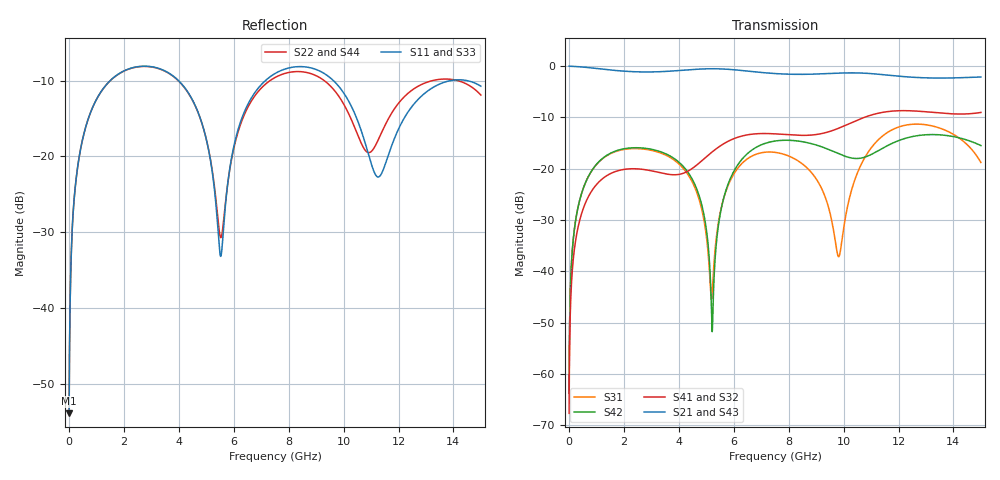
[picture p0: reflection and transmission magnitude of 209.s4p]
! Created with skrf 1.8.0 (http://scikit-rf.org).
# GHz S RI R 50.0
!freq ReS11 ImS11 ReS12 ImS12 ReS13 ImS13
! ReS14 ImS14
! ReS21 ImS21 ReS22 ImS22 ReS23 ImS23
! ReS24 ImS24
! ReS31 ImS31 ReS32 ImS32 ReS33 ImS33
! ReS34 ImS34
! ReS41 ImS41 ReS42 ImS42 ReS43 ImS43
! ReS44 ImS44
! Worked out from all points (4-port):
!   2499 points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, 5 MHz to 15 GHz, reference 50 ohm
!   strongest paths, dB at 5 MHz, 3.476 GHz, 7.19 GHz, 11.1 GHz, 15 GHz:
!     S21: 0.0, -1.1, -1.3, -1.5, -2.1
!     S43: 0.0, -1.1, -1.3, -1.5, -2.1
!     S41: -67.7, -21.0, -13.1, -9.4, -9.0
!     S32: -67.7, -21.0, -13.2, -9.4, -9.0
!     S42: -63.7, -17.0, -15.0, -17.0, -15.5
!     S31: -63.7, -17.2, -16.8, -15.3, -18.8
!   lowest |S11| = -53.8 dB at 5 MHz (marker M1), VSWR 1.00, Z = 50.2 + j0.124 ohm
!   |S11| at or under -10 dB: start of sweep to 1.504 GHz; 3.985 GHz to 7.155 GHz (3.17 GHz wide, 56.9 % of centre); 9.626 GHz to 13.91 GHz (4.283 GHz wide, 36.4 % of centre) (the widest 3 of 4)
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0.005  0.00162 0.00123  0.9983 -0.00316  8.16e-05 0.000649  -7.93e-05 -0.000406
       0.9983 -0.00316  0.00162 0.00123  -7.93e-05 -0.000406  8.17e-05 0.000649
       8.16e-05 0.000649  -7.93e-05 -0.000406  0.00162 0.00123  0.9983 -0.00316
       -7.93e-05 -0.000406  8.17e-05 0.000649  0.9983 -0.00316  0.00162 0.00123
0.3126303  0.0237 0.0812  0.9678 -0.1966  0.0107 0.0386  -0.00906 -0.0239
           0.9678 -0.1966  0.0236 0.0812  -0.00906 -0.0239  0.0111 0.0385
           0.0107 0.0386  -0.00906 -0.0239  0.0237 0.0812  0.9678 -0.1966
           -0.00906 -0.0239  0.0111 0.0385  0.9678 -0.1966  0.0236 0.0812
1.519383  0.2614 0.1814  0.5697 -0.7174  0.1231 0.0677  -0.0893 -0.00951
          0.5697 -0.7174  0.2599 0.1823  -0.0893 -0.00956  0.1277 0.0618
          0.1231 0.0677  -0.0893 -0.00956  0.2614 0.1813  0.5697 -0.7174
          -0.0893 -0.00951  0.1277 0.0618  0.5697 -0.7174  0.2599 0.1823
5.214673  0.0341 -0.0721  -0.9107 -0.242  -0.00563 0.00244  -0.0328 0.142
          -0.9107 -0.242  0.0414 -0.0704  -0.0336 0.1418  -0.00258 0.000168
          -0.00563 0.00244  -0.0336 0.1418  0.0349 -0.072  -0.9108 -0.2418
          -0.0328 0.142  -0.00258 0.000168  -0.9108 -0.2418  0.0406 -0.0707
8.59108  0.3866 -0.0437  0.0156 0.8315  0.1031 -0.0263  0.2043 -0.0541
         0.0156 0.8315  0.3584 -0.0207  0.2039 -0.0514  0.1026 -0.1497
         0.1031 -0.0263  0.2039 -0.0514  0.389 -0.0478  0.0161 0.8304
         0.2043 -0.0541  0.1026 -0.1497  0.0161 0.8304  0.3605 -0.0169
11.32972  0.0746 -0.00116  0.8304 0.00648  0.0889 0.1778  -0.0125 -0.3502
          0.8304 0.00648  0.1256 0.0542  -0.00743 -0.351  -0.0415 0.1476
          0.0889 0.1778  -0.00743 -0.351  0.0698 -0.00436  0.8302 0.00678
          -0.0125 -0.3502  -0.0415 0.1476  0.8302 0.00678  0.1314 0.0492
15  0.2651 -0.1181  -0.2743 -0.7334  0.0786 -0.0839  -0.3127 0.165
    -0.2743 -0.7334  0.2258 -0.1156  -0.315 0.1606  0.0235 -0.1666
    0.0786 -0.0839  -0.315 0.1606  0.2699 -0.1146  -0.2755 -0.732
    -0.3127 0.165  0.0235 -0.1666  -0.2755 -0.732  0.2251 -0.1222
